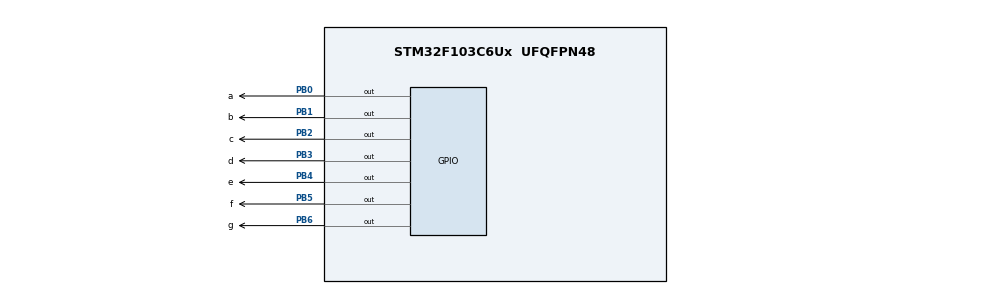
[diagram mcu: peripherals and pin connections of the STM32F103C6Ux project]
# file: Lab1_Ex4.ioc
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Mcu.Family=STM32F1
Mcu.Name=STM32F103C6Ux
Mcu.Package=UFQFPN48
NVIC.PriorityGroup=NVIC_PRIORITYGROUP_4
PB0.GPIO_Label=a
PB0.Signal=GPIO_Output
PB1.GPIO_Label=b
PB1.Signal=GPIO_Output
PB2.GPIO_Label=c
PB2.Signal=GPIO_Output
PB3.GPIO_Label=d
PB3.Signal=GPIO_Output
PB4.GPIO_Label=e
PB4.Signal=GPIO_Output
PB5.GPIO_Label=f
PB5.Signal=GPIO_Output
PB6.GPIO_Label=g
PB6.Signal=GPIO_Output
ProjectManager.HeapSize=0x200
ProjectManager.StackSize=0x400
ProjectManager.TargetToolchain=STM32CubeIDE
RCC.APB1Freq_Value=8000000
RCC.APB2Freq_Value=8000000
VP_SYS_VS_ND.Mode=No_Debug
board=custom

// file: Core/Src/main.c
/* USER CODE BEGIN Header */
/**
  ******************************************************************************
  * @file           : main.c
  * @brief          : Main program body
  ******************************************************************************
  * @attention
  *
  * <h2><center>&copy; Copyright (c) 2022 STMicroelectronics.
  * All rights reserved.</center></h2>
  *
  * This software component is licensed by ST under BSD 3-Clause license,
  * the "License"; You may not use this file except in compliance with the
  * License. You may obtain a copy of the License at:
  *                        opensource.org/licenses/BSD-3-Clause
  *
  ******************************************************************************
  */
/* USER CODE END Header */
#include "main.h"

void SystemClock_Config(void);
static void MX_GPIO_Init(void);

/* USER CODE BEGIN 0 */
void display7SEG(int num);
/* USER CODE END 0 */

int main(void)
{

  /* MCU Configuration--------------------------------------------------------*/

  /* Reset of all peripherals, Initializes the Flash interface and the Systick. */
  HAL_Init();

  /* Configure the system clock */
  SystemClock_Config();

  /* Initialize all configured peripherals */
  MX_GPIO_Init();
  int counter = 0;
  /* Infinite loop */
  /* USER CODE BEGIN WHILE */
  while (1)
  {
	  if( counter >= 10) counter = 0;
	  display7SEG ( counter ++) ;
	  HAL_Delay (1000) ;
  }
  /* USER CODE END 3 */
}

void SystemClock_Config(void)
{
  RCC_OscInitTypeDef RCC_OscInitStruct = {0};
  RCC_ClkInitTypeDef RCC_ClkInitStruct = {0};

  /** Initializes the RCC Oscillators according to the specified parameters
  * in the RCC_OscInitTypeDef structure.
  */
  RCC_OscInitStruct.OscillatorType = RCC_OSCILLATORTYPE_HSI;
  RCC_OscInitStruct.HSIState = RCC_HSI_ON;
  RCC_OscInitStruct.HSICalibrationValue = RCC_HSICALIBRATION_DEFAULT;
  RCC_OscInitStruct.PLL.PLLState = RCC_PLL_NONE;
  if (HAL_RCC_OscConfig(&RCC_OscInitStruct) != HAL_OK)
  {
    Error_Handler();
  }
  /** Initializes the CPU, AHB and APB buses clocks
  */
  RCC_ClkInitStruct.ClockType = RCC_CLOCKTYPE_HCLK|RCC_CLOCKTYPE_SYSCLK
                              |RCC_CLOCKTYPE_PCLK1|RCC_CLOCKTYPE_PCLK2;
  RCC_ClkInitStruct.SYSCLKSource = RCC_SYSCLKSOURCE_HSI;
  RCC_ClkInitStruct.AHBCLKDivider = RCC_SYSCLK_DIV1;
  RCC_ClkInitStruct.APB1CLKDivider = RCC_HCLK_DIV1;
  RCC_ClkInitStruct.APB2CLKDivider = RCC_HCLK_DIV1;

  if (HAL_RCC_ClockConfig(&RCC_ClkInitStruct, FLASH_LATENCY_0) != HAL_OK)
  {
    Error_Handler();
  }
}

static void MX_GPIO_Init(void)
{
  GPIO_InitTypeDef GPIO_InitStruct = {0};

  /* GPIO Ports Clock Enable */
  __HAL_RCC_GPIOB_CLK_ENABLE();

  /*Configure GPIO pin Output Level */
  HAL_GPIO_WritePin(GPIOB, a_Pin|b_Pin|c_Pin|d_Pin
                          |e_Pin|f_Pin|g_Pin, GPIO_PIN_RESET);

  /*Configure GPIO pins : a_Pin b_Pin c_Pin d_Pin
                           e_Pin f_Pin g_Pin */
  GPIO_InitStruct.Pin = a_Pin|b_Pin|c_Pin|d_Pin
                          |e_Pin|f_Pin|g_Pin;
  GPIO_InitStruct.Mode = GPIO_MODE_OUTPUT_PP;
  GPIO_InitStruct.Pull = GPIO_NOPULL;
  GPIO_InitStruct.Speed = GPIO_SPEED_FREQ_LOW;
  HAL_GPIO_Init(GPIOB, &GPIO_InitStruct);

}

/* USER CODE BEGIN 4 */
void display7SEG(int num)
{
	if(num==0 || num==2 || num==3 || num==5 || num==6
			|| num==7 || num==8 || num==9){
		HAL_GPIO_WritePin(a_GPIO_Port, a_Pin, GPIO_PIN_RESET);
	}
	else HAL_GPIO_WritePin(a_GPIO_Port, a_Pin, GPIO_PIN_SET);

	if(num==0 || num==1 || num==2 || num==3 || num==4
		|| num==7 || num==8 || num==9){
		HAL_GPIO_WritePin(b_GPIO_Port, b_Pin, GPIO_PIN_RESET);
	}
	else HAL_GPIO_WritePin(b_GPIO_Port, b_Pin, GPIO_PIN_SET);

	if(num==0 || num==1 || num==3 || num==4 || num==5 || num==6
			|| num==7 || num==8 || num==9){
		HAL_GPIO_WritePin(c_GPIO_Port, c_Pin, GPIO_PIN_RESET);
	}
	else HAL_GPIO_WritePin(c_GPIO_Port, c_Pin, GPIO_PIN_SET);

	if(num==0 || num==2 || num==3 || num==5 || num==6 || num==8 ||num==9){
		HAL_GPIO_WritePin(d_GPIO_Port, d_Pin, GPIO_PIN_RESET);
	}
	else HAL_GPIO_WritePin(d_GPIO_Port, d_Pin, GPIO_PIN_SET);

	if(num==0 || num==2 || num==6 || num==8){
		HAL_GPIO_WritePin(e_GPIO_Port, e_Pin, GPIO_PIN_RESET);
	}
	else HAL_GPIO_WritePin(e_GPIO_Port, e_Pin, GPIO_PIN_SET);

	if(num==0 || num==4 || num==5 || num==6 || num==8 ||num==9){
		HAL_GPIO_WritePin(f_GPIO_Port, f_Pin, GPIO_PIN_RESET);
	}
	else HAL_GPIO_WritePin(f_GPIO_Port, f_Pin, GPIO_PIN_SET);

	if(num==2 || num==3 || num==4 || num==5 || num==6 || num==8 || num==9){
		HAL_GPIO_WritePin(g_GPIO_Port, g_Pin, GPIO_PIN_RESET);
	}
	else HAL_GPIO_WritePin(g_GPIO_Port, g_Pin, GPIO_PIN_SET);

}
/* USER CODE END 4 */

void Error_Handler(void)
{
  __disable_irq();
  while (1)
  {
  }
}

/************************ (C) COPYRIGHT STMicroelectronics *****END OF FILE****/
